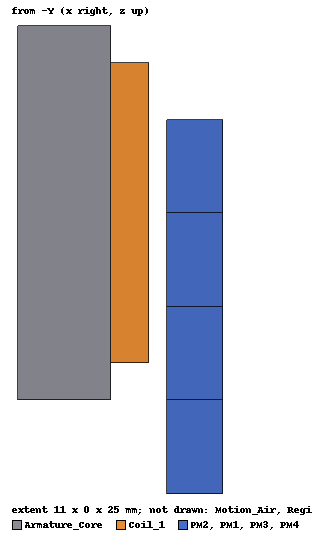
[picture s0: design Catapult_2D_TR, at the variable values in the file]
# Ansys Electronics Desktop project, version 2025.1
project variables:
  $r_out = 10mm
  $r_in = 5mm
  $l_arm = 20mm
  $m_arm = 0.1kg
  $C_total = 0.68f
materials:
  vacuum: permittivity=1
  iron: permeability=4000 conductivity=10300000
  copper: permeability=0.999991 conductivity=58000000
  NdFe35: permittivity=1 permeability=1.0997785 conductivity=625000 magnetic_coercivity{Magnitude=-890000A_per_meter DirComp1=1 DirComp2=0 DirComp3=0} lande_g_factor=2
  air: permittivity=1.0006 permeability=1.0000004

design Catapult_2D_TR (Maxwell 2D, Transient, about Z geometry, model units mm)
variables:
  r_in = 5mm
  r_out = 10mm
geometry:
  Armature_Core [iron] = rectangle(corner=(5mm, 0mm, 0mm), z_size=20mm, x_size=5mm)
  Coil_1 [copper] = rectangle(corner=(10mm, 0mm, 2mm), z_size=16mm, x_size=2mm)
  coordinate_system RelativeCS1 = origin=(0mm, 0mm, 0mm) x=(0mm, 0mm, 1mm) y=(0mm, 1mm, 0mm)
  PM2 [NdFe35, oriented by RelativeCS1] = rectangle(corner=(13mm, 0mm, 0mm), z_size=5mm, x_size=3mm)
  PM1 [NdFe35] = rectangle(corner=(13mm, 0mm, -5mm), z_size=5mm, x_size=3mm)
  coordinate_system RelativeCS2 = origin=(0mm, 0mm, 0mm) x=(-1mm, 0mm, 0mm) y=(0mm, 1mm, 0mm)
  PM3 [NdFe35, oriented by RelativeCS2] = rectangle(corner=(13mm, 0mm, 5mm), z_size=5mm, x_size=3mm)
  coordinate_system RelativeCS3 = origin=(0mm, 0mm, 0mm) x=(0mm, 0mm, -1mm) y=(0mm, 1mm, 0mm)
  PM4 [NdFe35, oriented by RelativeCS3] = rectangle(corner=(13mm, 0mm, 10mm), z_size=5mm, x_size=3mm)
  Motion_Air [air] = rectangle(corner=(0mm, 0mm, -10mm), z_size=60mm, x_size=20mm)
  Region_Air [air] = rectangle(corner=(0mm, 0mm, -20mm), z_size=100mm, x_size=40mm)
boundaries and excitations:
  Outer_Balloon: Balloon Edges=Region_Air.edge(all 4)
  CoilTerminal1: Coil Objects=Coil_1 Conductor_number=50 Winding=currentwinding PolarityType=Positive
  currentwinding: Winding Group Type=External IsSolid=false Current=0mA ParallelBranchesNum=1
  external circuit: "* Design: ExternalCircuit\"
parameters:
  F_arm: Force Reference_CS=Global Objects=Armature_Core
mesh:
  Length1: LengthBased Objects=[Armature_Core, PM1..PM4, Coil_1] MaxLength=1mm
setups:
  Setup1: Transient NonlinearSolverResidual=0.0001 StopTime=0.02s TimeStep=0.0001s InitialTimeStep=0.002s MinTimeStep=0.001s MaxTimeStep=0.003s TimeStepErrTolerance=0.0001
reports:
  Winding Plot1: Current(currentwinding) vs Time on Setup1 : Transient
  Force Plot1: F_arm.Force_z vs Time on Setup1 : Transient
  Force Plot2: F_arm.Force_z vs Time on Setup1 : Transient

design ExternalCircuit (Maxwell Circuit)
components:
  Cap_6 = Cap(C=0.68farad IC=35V)
  Res_7 = Res(R=0.05ohm)
  Winding_9 = Winding(Name=currentwinding)
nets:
  0: Cap_6.0, Res_7.0
  net_4: Res_7.1, Winding_9.1
  net_6: Cap_6.1, Winding_9.0
